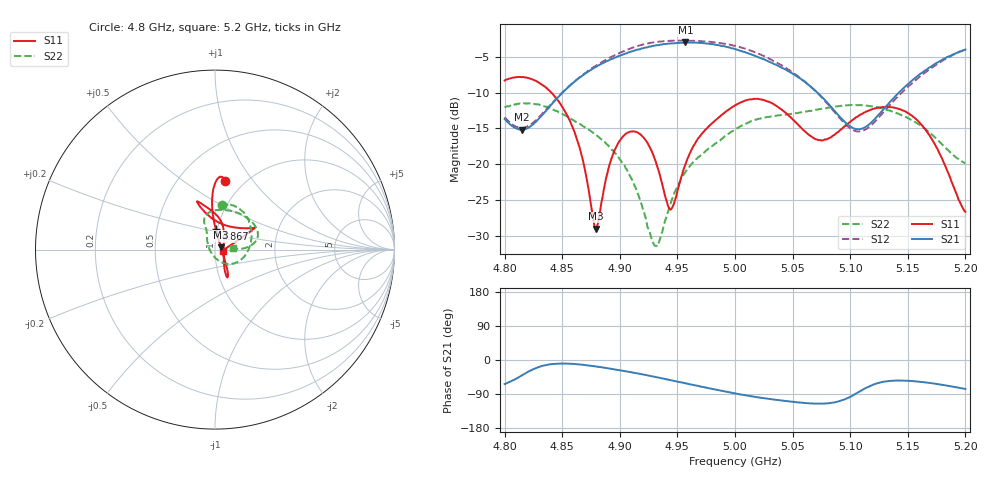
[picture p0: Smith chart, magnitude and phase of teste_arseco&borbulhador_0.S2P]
! Network Analyzer HP8722D
! Hewlett-Packard
! Data name: Linha & Wilkinson
! Saver's name: Rodrigo Anjos
! Comments: Teste da utilização de aquisição continua pelo VNA HP8722D
! Time and date: 15/4/2025 15:38
!  Frequency  S11  S21  S12  S22
# HZ  S  MA R 50
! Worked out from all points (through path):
!   401 points, 4.8 GHz to 5.2 GHz, reference 50 ohm
!   highest |S21| = -2.98 dB at 4.957 GHz (marker M1); lowest = -15.2 dB at 4.815 GHz (marker M2)
!   lowest |S11| = -29.0 dB at 4.879 GHz (marker M3), VSWR 1.07, Z = 53.4 + j1.4 ohm
!   |S11| at or under -10 dB: 4.841 GHz to end of sweep
!   |S22| runs from -31.5 to -11.5 dB; largest |S21 - S12| = 1.4
!   S11 on the Smith chart (normalised r, x): 4.8 GHz: 0.83, +0.74; 4.867 GHz: 0.98, +0.23; 5.2 GHz: 1.10, -0.02
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4.8e9  0.3847 81.3  0.2072 -63.4  0.2128 71.6  0.2489 81.3
4.815e9  0.4059 85.7  0.174 -40.6  0.179 92.6  0.2656 68.4
4.846e9  0.2815 93.2  0.2916 -9.5  0.2946 123.1  0.2346 30.9
4.858e9  0.1897 93.1  0.362 -10.0  0.3633 124.5  0.2068 13.5
4.867e9  0.1142 88.0  0.4135 -12.4  0.4166 123.9  0.1874 0.2
4.879e9  0.03542 21.8  0.4775 -16.9  0.4855 121.6  0.1611 -17.9
4.893e9  0.1111 -54.8  0.5447 -23.5  0.564 117.2  0.1262 -37.5
4.905e9  0.1627 -63.5  0.5934 -29.7  0.6258 112.1  0.09412 -54.8
4.92e9  0.1557 -66.8  0.6453 -38.2  0.6867 104.0  0.04875 -85.2
4.929e9  0.1164 -63.0  0.6708 -43.5  0.7101 98.6  0.0282 -133.4
4.934e9  0.08856 -55.9  0.6801 -46.7  0.7204 95.3  0.0286 -175.6
4.944e9  0.04807 -2.0  0.6986 -53.1  0.7279 88.8  0.05285 139.6
4.957e9  0.0998 60.4  0.7095 -61.5  0.731 80.5  0.08832 121.1
4.972e9  0.1658 79.4  0.7029 -71.0  0.7238 70.8  0.1191 113.7
5e9  0.2579 104.8  0.6386 -88.6  0.6731 52.5  0.175 110.6
5.031e9  0.2693 110.2  0.5153 -103.3  0.5399 35.4  0.2154 93.4
5.067e9  0.1546 84.1  0.342 -114.6  0.3412 25.9  0.2371 61.9
5.081e9  0.1511 58.9  0.2645 -114.2  0.2608 28.0  0.2486 48.1
5.105e9  0.2124 34.0  0.176 -88.8  0.1702 55.4  0.2593 28.2
5.134e9  0.2509 28.6  0.2695 -55.3  0.2567 90.6  0.2375 12.9
5.167e9  0.1672 24.1  0.4626 -59.8  0.4495 88.1  0.1712 3.2
5.2e9  0.04648 -9.3  0.6327 -76.6  0.6343 72.4  0.1012 5.4
